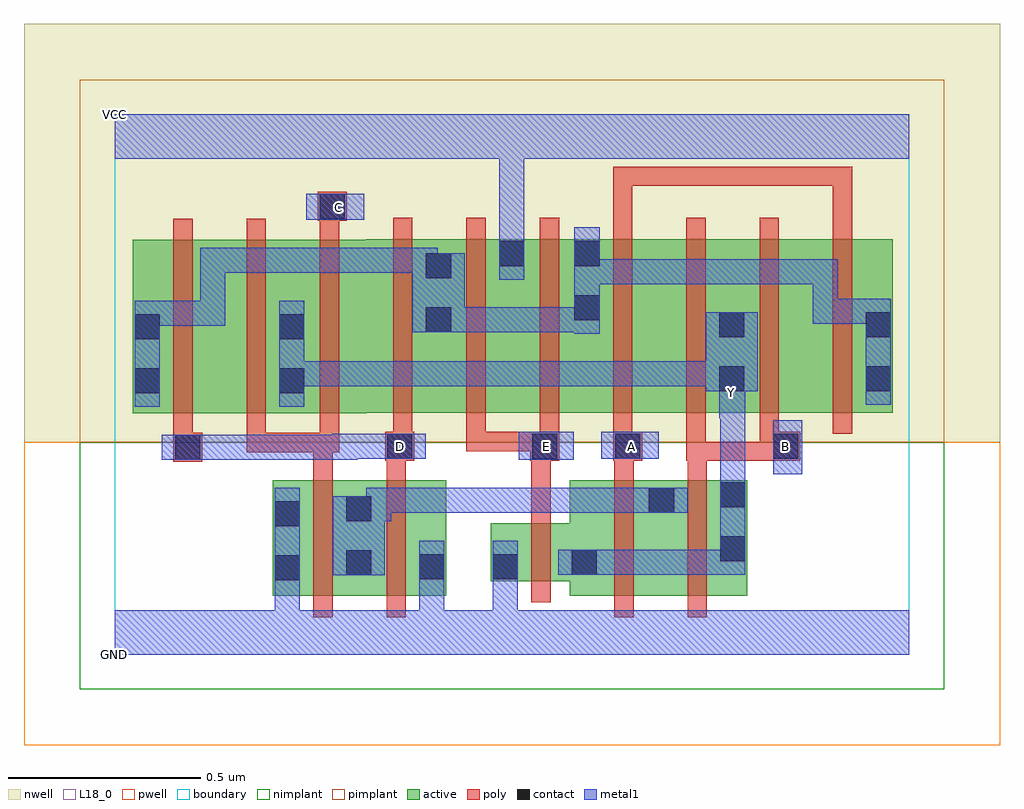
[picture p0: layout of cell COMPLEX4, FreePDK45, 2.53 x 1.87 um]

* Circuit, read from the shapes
.subckt COMPLEX4 A B C D E GND VCC Y
M1 n1 C GND VSUBS nfet w=0.3u l=0.05u
M2 GND D n1 VSUBS nfet w=0.3u l=0.05u
M3 Y E GND VSUBS nfet w=0.15u l=0.05u
M4 n1 A Y VSUBS nfet w=0.3u l=0.05u
M5 Y B n1 VSUBS nfet w=0.3u l=0.05u
M6 n2 D n3 n4 pfet w=0.45u l=0.05u
M7 Y C n2 n4 pfet w=0.45u l=0.05u
M8 n5 C Y n4 pfet w=0.45u l=0.05u
M9 n3 D n5 n4 pfet w=0.45u l=0.05u
M10 VCC E n3 n4 pfet w=0.45u l=0.05u m=2
M11 n6 A n3 n4 pfet w=0.45u l=0.05u
M12 Y B n6 n4 pfet w=0.45u l=0.05u
M13 n7 B Y n4 pfet w=0.45u l=0.05u
M14 n3 A n7 n4 pfet w=0.45u l=0.05u
.ends

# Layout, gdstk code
import gdstk
lib = gdstk.Library(unit=1e-6, precision=1e-09)
def R(c, l, rs):  # rectangles x0, y0, x1, y1
    for r in rs: c.add(gdstk.rectangle(r[:2], r[2:], *l))
def A(c, l, x, y, w, h, nx, ny, dx, dy):  # array of equal rectangles
    R(c, l, [(x+i*dx, y+j*dy, x+i*dx+w, y+j*dy+h) for i in range(nx) for j in range(ny)])
active = (1, 0)
pwell = (2, 0)
nwell = (3, 0)
nimplant = (4, 0)
pimplant = (5, 0)
poly = (9, 0)
contact = (10, 0)
metal1 = (11, 0)
L18_0 = (18, 0)
boundary = (235, 0)

complex4 = lib.new_cell('COMPLEX4')
R(complex4, active, [(0.41,0.152,0.67,0.452), (0.595,0.152,0.86,0.452), (0.785,0.152,0.86,0.452), (1.18,0.152,1.455,0.452), (1.38,0.152,1.64,0.452), (0.41,0.175,0.485,0.452), (0.975,0.19,1.255,0.34), (0.975,0.19,1.05,0.34), (0.595,0.195,0.67,0.415), (1.38,0.195,1.455,0.437), (1.565,0.195,1.64,0.452), (1.18,0.2,1.255,0.277), (0.047,0.625,0.272,1.075), (0.047,0.625,0.122,1.075), (0.272,0.625,0.497,1.075), (0.422,0.625,0.652,1.075), (0.422,0.625,0.497,0.937), (0.652,0.627,0.877,1.077), (0.802,0.627,1.067,1.077), (0.992,0.627,1.262,1.077), (1.187,0.627,1.412,1.077), (1.412,0.627,1.637,1.077), (1.562,0.627,1.637,1.055), (1.562,0.627,1.792,1.077), (1.792,0.627,2.017,1.077), (1.942,0.627,2.017,1.055), (1.187,0.722,1.262,1.077), (0.802,0.8,0.877,1.055), (0.992,0.852,1.067,1.077)])
R(complex4, pwell, [(-0.235,-0.235,2.295,0.55)])
R(complex4, nwell, [(-0.235,0.55,2.295,1.635)])
R(complex4, nimplant, [(-0.09,-0.09,2.15,0.55)])
R(complex4, pimplant, [(-0.09,0.55,2.15,1.49)])
A(complex4, poly, 0.152, 0.525, 0.05, 0.095, 3, 1, 0.19, 0)
A(complex4, poly, 0.722, 0.527, 0.05, 0.095, 4, 1, 0.19, 0)
A(complex4, poly, 0.152, 0.57, 0.05, 0.56, 3, 1, 0.19, 0)
A(complex4, poly, 0.722, 0.572, 0.05, 0.56, 7, 1, 0.19, 0)
R(complex4, poly, [(0.515,0.097,0.565,0.507), (0.705,0.097,0.755,0.507), (1.295,0.097,1.345,0.507), (1.485,0.097,1.535,0.507), (1.08,0.135,1.13,0.395), (1.08,0.345,1.13,0.552), (0.515,0.457,0.565,0.575), (0.705,0.457,0.755,0.552), (1.295,0.457,1.345,0.552), (1.485,0.457,1.535,0.552), (0.152,0.5,0.227,0.575), (0.702,0.502,0.777,0.577), (1.077,0.502,1.152,0.577), (1.292,0.502,1.367,0.577), (1.482,0.502,1.532,0.622), (1.482,0.502,1.535,0.552), (1.485,0.502,1.535,0.552), (1.485,0.502,1.535,0.552), (1.485,0.502,1.722,0.552), (1.672,0.502,1.777,0.577), (0.342,0.525,0.392,0.575), (0.342,0.525,0.392,0.575), (0.342,0.525,0.392,0.575), (0.342,0.525,0.565,0.575), (0.515,0.525,0.582,0.575), (0.912,0.527,0.962,0.577), (0.912,0.527,1.127,0.577), (1.077,0.527,1.127,0.577), (1.077,0.527,1.127,0.577), (1.672,0.527,1.722,0.622), (0.532,1.08,0.582,1.175), (1.292,1.082,1.342,1.265), (1.862,1.082,1.912,1.265), (0.527,1.125,0.602,1.2), (1.292,1.215,1.342,1.265), (1.292,1.215,1.342,1.265), (1.292,1.215,1.342,1.265), (1.292,1.215,1.59,1.265), (1.54,1.215,1.59,1.265), (1.54,1.215,1.59,1.265), (1.54,1.215,1.59,1.265), (1.54,1.215,1.78,1.265), (1.73,1.215,1.78,1.265), (1.73,1.215,1.912,1.265), (1.862,1.215,1.912,1.265), (1.862,1.215,1.912,1.265), (1.862,1.215,1.912,1.265)])
R(complex4, contact, [(0.415,0.192,0.48,0.257), (0.79,0.195,0.855,0.26), (0.98,0.195,1.045,0.26), (0.6,0.205,0.665,0.27), (1.185,0.207,1.25,0.272), (1.57,0.242,1.635,0.307), (0.415,0.332,0.48,0.397), (0.6,0.345,0.665,0.41), (1.385,0.367,1.45,0.432), (1.57,0.382,1.635,0.447), (0.157,0.505,0.222,0.57), (0.707,0.507,0.772,0.572), (1.082,0.507,1.147,0.572), (1.297,0.507,1.362,0.572), (1.707,0.507,1.772,0.572), (0.052,0.677,0.117,0.742), (0.427,0.677,0.492,0.742), (1.567,0.682,1.632,0.747), (1.947,0.682,2.012,0.747), (0.052,0.817,0.117,0.882), (0.427,0.817,0.492,0.882), (1.567,0.822,1.632,0.887), (1.947,0.822,2.012,0.887), (0.807,0.835,0.872,0.9), (1.192,0.867,1.257,0.932), (0.807,0.975,0.872,1.04), (0.997,1.007,1.062,1.072), (1.192,1.007,1.257,1.072), (0.532,1.13,0.597,1.195)])
R(complex4, metal1, [(0,0,2.06,0.115), (0.415,0.05,0.48,0.222), (0.79,0.05,0.855,0.225), (0.98,0.05,1.045,0.115), (0.98,0.05,1.045,0.115), (0.98,0.05,1.045,0.115), (0.98,0.05,1.045,0.115), (0.98,0.05,1.045,0.225), (0.415,0.157,0.48,0.432), (0.415,0.157,0.48,0.222), (0.415,0.157,0.48,0.222), (0.79,0.16,0.855,0.225), (0.79,0.16,0.855,0.225), (0.79,0.16,0.855,0.295), (0.98,0.16,1.045,0.295), (0.565,0.205,0.7,0.41), (1.15,0.207,1.285,0.272), (1.22,0.207,1.422,0.272), (1.22,0.207,1.285,0.272), (1.22,0.207,1.285,0.272), (1.357,0.207,1.422,0.272), (1.357,0.207,1.422,0.272), (1.357,0.207,1.422,0.272), (1.357,0.207,1.635,0.272), (1.57,0.207,1.635,0.482), (1.57,0.207,1.635,0.272), (1.57,0.207,1.635,0.272), (0.635,0.345,0.717,0.41), (0.652,0.345,0.717,0.432), (0.652,0.367,0.837,0.432), (0.772,0.367,0.837,0.432), (0.772,0.367,0.975,0.432), (0.91,0.367,0.975,0.432), (0.91,0.367,1.077,0.432), (1.012,0.367,1.077,0.432), (1.012,0.367,1.112,0.432), (1.047,0.367,1.112,0.432), (1.047,0.367,1.25,0.432), (1.185,0.367,1.25,0.432), (1.185,0.367,1.25,0.432), (1.185,0.367,1.25,0.432), (1.185,0.367,1.415,0.432), (1.35,0.367,1.485,0.432), (1.57,0.417,1.635,0.677), (1.707,0.467,1.782,0.607), (0.122,0.505,0.257,0.57), (0.192,0.505,0.257,0.57), (0.192,0.505,0.257,0.57), (0.192,0.505,0.425,0.57), (0.36,0.505,0.562,0.57), (0.36,0.505,0.425,0.57), (0.36,0.505,0.425,0.57), (0.36,0.505,0.425,0.57), (0.497,0.505,0.562,0.57), (0.497,0.505,0.63,0.57), (0.565,0.505,0.63,0.572), (1.047,0.505,1.19,0.577), (0.565,0.507,0.737,0.572), (0.672,0.507,0.807,0.572), (1.262,0.507,1.41,0.577), (1.567,0.612,1.635,0.747), (0.052,0.642,0.117,0.917), (0.427,0.642,0.492,0.917), (1.947,0.647,2.012,0.922), (1.532,0.682,1.667,0.887), (1.567,0.682,1.632,0.747), (0.427,0.695,0.562,0.76), (0.497,0.695,0.562,0.76), (0.497,0.695,0.7,0.76), (0.635,0.695,0.7,0.76), (0.635,0.695,0.7,0.76), (0.635,0.695,0.7,0.76), (0.635,0.695,0.907,0.76), (0.842,0.695,0.907,0.76), (0.842,0.695,0.975,0.76), (0.91,0.695,0.975,0.76), (0.91,0.695,1.077,0.76), (1.012,0.695,1.077,0.76), (1.012,0.695,1.112,0.76), (1.047,0.695,1.112,0.76), (1.047,0.695,1.25,0.76), (1.185,0.695,1.25,0.76), (1.185,0.695,1.25,0.76), (1.185,0.695,1.25,0.76), (1.185,0.695,1.422,0.76), (1.357,0.695,1.422,0.76), (1.357,0.695,1.597,0.76), (1.532,0.695,1.597,0.76), (1.532,0.695,1.597,0.76), (1.192,0.832,1.257,1.107), (0.772,0.835,0.907,1.04), (0.842,0.835,0.975,0.9), (0.91,0.835,0.975,0.9), (0.91,0.835,1.045,0.9), (0.98,0.835,1.045,0.9), (0.98,0.835,1.112,0.9), (1.047,0.835,1.112,0.9), (1.047,0.835,1.257,0.9), (0.052,0.852,0.117,0.917), (0.052,0.852,0.117,0.917), (0.052,0.852,0.287,0.917), (0.222,0.852,0.287,0.917), (0.222,0.852,0.287,1.055), (1.81,0.857,2.012,0.922), (1.81,0.857,1.875,0.922), (1.81,0.857,1.875,0.922), (1.81,0.857,1.875,0.922), (1.81,0.857,1.875,1.025), (1.192,0.96,1.257,1.025), (1.192,0.96,1.257,1.025), (1.192,0.96,1.422,1.025), (1.357,0.96,1.422,1.025), (1.357,0.96,1.6,1.025), (1.535,0.96,1.737,1.025), (1.535,0.96,1.6,1.025), (1.672,0.96,1.737,1.025), (1.672,0.96,1.737,1.025), (1.672,0.96,1.737,1.025), (1.672,0.96,1.875,1.025), (1.81,0.96,1.875,1.025), (0.997,0.972,1.062,1.107), (0.772,0.975,0.837,1.04), (0.772,0.975,0.837,1.055), (0.222,0.99,0.287,1.055), (0.222,0.99,0.425,1.055), (0.36,0.99,0.562,1.055), (0.36,0.99,0.425,1.055), (0.36,0.99,0.425,1.055), (0.36,0.99,0.425,1.055), (0.497,0.99,0.562,1.055), (0.497,0.99,0.63,1.055), (0.565,0.99,0.63,1.055), (0.565,0.99,0.837,1.055), (0.997,1.042,1.062,1.107), (0.997,1.042,1.062,1.107), (0.997,1.042,1.062,1.35), (0.497,1.127,0.647,1.195), (0,1.285,2.06,1.4), (0.997,1.285,1.062,1.35), (0.997,1.285,1.062,1.35)])
R(complex4, L18_0, [(0,0,2.06,0.115), (0.415,0.05,0.48,0.222), (0.79,0.05,0.855,0.225), (0.98,0.05,1.045,0.115), (0.98,0.05,1.045,0.115), (0.98,0.05,1.045,0.115), (0.98,0.05,1.045,0.115), (0.98,0.05,1.045,0.225), (0.415,0.157,0.48,0.222), (0.415,0.157,0.48,0.222), (0.415,0.157,0.48,0.432), (0.79,0.16,0.855,0.225), (0.79,0.16,0.855,0.225), (0.79,0.16,0.855,0.295), (0.98,0.16,1.045,0.295), (1.15,0.207,1.285,0.272), (1.22,0.207,1.285,0.272), (1.22,0.207,1.285,0.272), (1.22,0.207,1.422,0.272), (1.357,0.207,1.422,0.272), (1.357,0.207,1.422,0.272), (1.357,0.207,1.422,0.272), (1.357,0.207,1.635,0.272), (1.57,0.207,1.635,0.272), (1.57,0.207,1.635,0.272), (1.57,0.207,1.635,0.482), (1.57,0.417,1.635,0.677), (1.707,0.467,1.782,0.607), (0.122,0.505,0.257,0.57), (0.192,0.505,0.257,0.57), (0.192,0.505,0.257,0.57), (0.192,0.505,0.425,0.57), (0.36,0.505,0.425,0.57), (0.36,0.505,0.425,0.57), (0.36,0.505,0.425,0.57), (0.36,0.505,0.562,0.57), (0.497,0.505,0.562,0.57), (0.497,0.505,0.63,0.57), (0.565,0.505,0.63,0.572), (1.047,0.505,1.19,0.577), (0.565,0.507,0.737,0.572), (0.672,0.507,0.807,0.572), (0.707,0.507,0.772,0.572), (1.087,0.507,1.152,0.572), (1.262,0.507,1.41,0.577), (1.307,0.507,1.372,0.572), (1.707,0.507,1.772,0.572), (1.567,0.612,1.635,0.747), (0.427,0.642,0.492,0.917), (1.567,0.647,1.632,0.712), (1.532,0.682,1.667,0.887), (1.567,0.682,1.632,0.747), (0.427,0.695,0.562,0.76), (0.497,0.695,0.562,0.76), (0.497,0.695,0.7,0.76), (0.635,0.695,0.7,0.76), (0.635,0.695,0.7,0.76), (0.635,0.695,0.7,0.76), (0.635,0.695,0.907,0.76), (0.842,0.695,0.907,0.76), (0.842,0.695,0.975,0.76), (0.91,0.695,0.975,0.76), (0.91,0.695,1.077,0.76), (1.012,0.695,1.077,0.76), (1.012,0.695,1.112,0.76), (1.047,0.695,1.112,0.76), (1.047,0.695,1.25,0.76), (1.185,0.695,1.25,0.76), (1.185,0.695,1.25,0.76), (1.185,0.695,1.25,0.76), (1.185,0.695,1.422,0.76), (1.357,0.695,1.422,0.76), (1.357,0.695,1.597,0.76), (1.532,0.695,1.597,0.76), (1.532,0.695,1.597,0.76), (0.997,0.972,1.062,1.107), (0.997,1.042,1.062,1.107), (0.997,1.042,1.062,1.107), (0.997,1.042,1.062,1.35), (0.497,1.127,0.647,1.195), (0.547,1.127,0.612,1.192), (0,1.285,2.06,1.4), (0.997,1.285,1.062,1.35), (0.997,1.285,1.062,1.35)])
R(complex4, boundary, [(0,0,2.06,1.4)])
complex4.add(gdstk.Label('A', (1.34,0.54), layer=11, texttype=0))
complex4.add(gdstk.Label('B', (1.74,0.54), layer=11, texttype=0))
complex4.add(gdstk.Label('C', (0.58,1.16), layer=11, texttype=0))
complex4.add(gdstk.Label('D', (0.74,0.54), layer=11, texttype=0))
complex4.add(gdstk.Label('E', (1.12,0.54), layer=11, texttype=0))
complex4.add(gdstk.Label('Y', (1.6,0.68), layer=11, texttype=0))
complex4.add(gdstk.Label('VCC', (0,1.4), layer=11, texttype=0))
complex4.add(gdstk.Label('GND', (0,0), layer=11, texttype=0))

lib.write_gds('COMPLEX4.gds')
